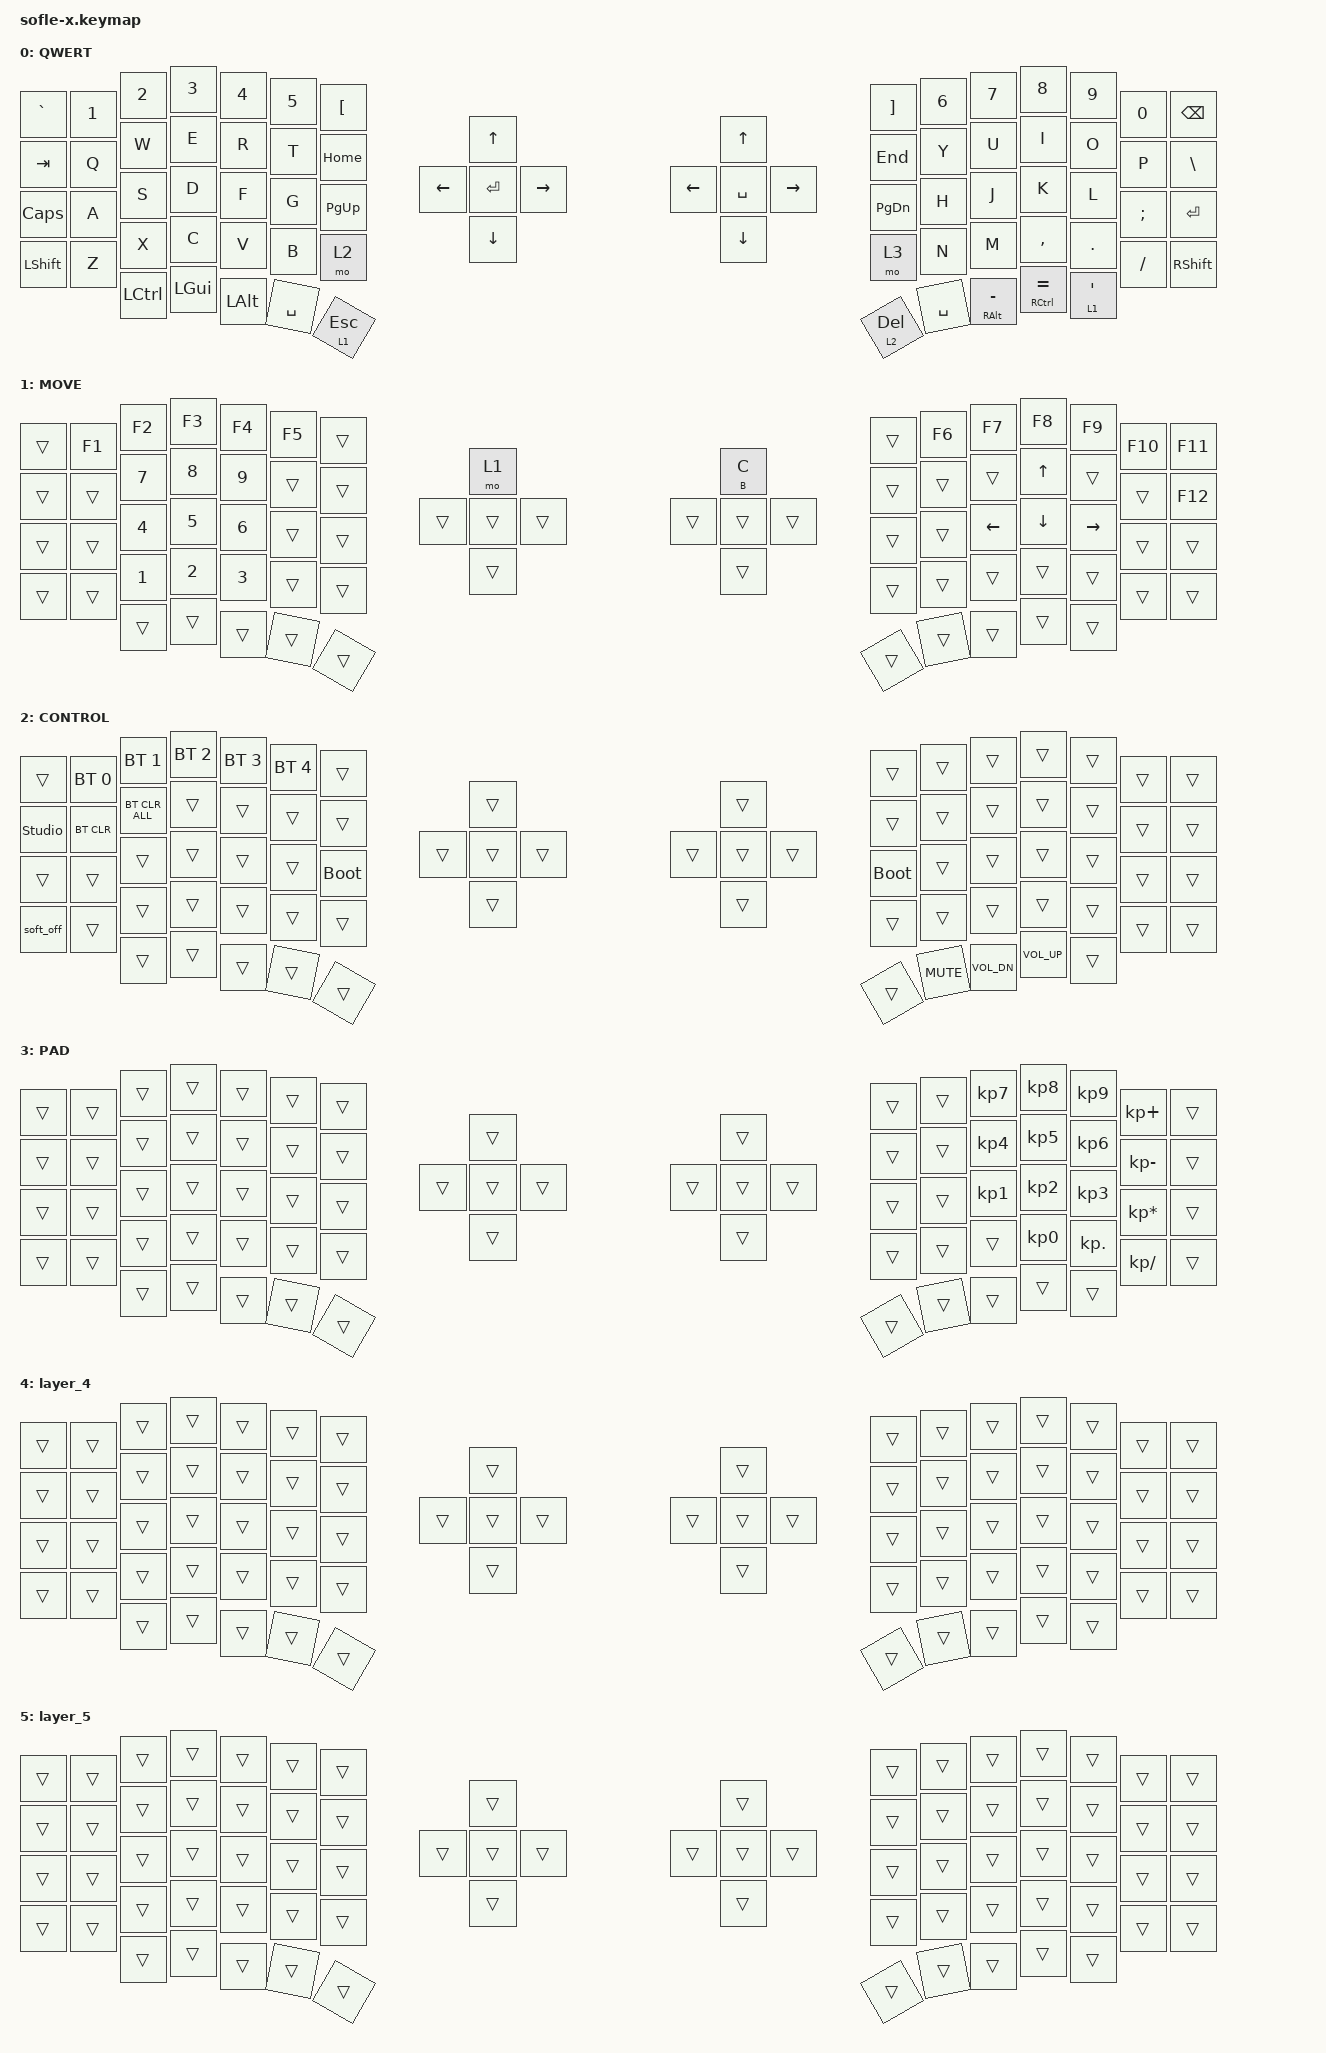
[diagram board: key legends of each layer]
/*
 * Copyright (c) 2020 The ZMK Contributors
 *
 * SPDX-License-Identifier: MIT
 */

#include <behaviors.dtsi>
#include <dt-bindings/zmk/bt.h>
#include <dt-bindings/zmk/keys.h>

#define BASE 0
#define LOWER 1
#define RAISE 2
#define ADJUST 3

/ {
    // Activate ADJUST layer by pressing raise and lower

    conditional_layers {
        compatible = "zmk,conditional-layers";

        adjust_layer {
            if-layers = <1 2>;
            then-layer = <3>;
        };
    };

    macros {
        say_hi: say_hi {
            compatible = "zmk,behavior-macro";
            #binding-cells = <0>;
            bindings = <&kp H &kp I>;
            label = "SAY_HI";
        };
    };

    keymap {
        compatible = "zmk,keymap";

        layer_0 {
            display-name = "QWERT";
            bindings = <
&kp GRAVE  &kp N1  &kp N2        &kp N3    &kp N4    &kp N5     &kp LBKT       &kp RBKT   &kp N6     &kp N7          &kp N8           &kp N9        &kp N0    &kp BACKSPACE
&kp TAB    &kp Q   &kp W         &kp E     &kp R     &kp T      &kp HOME       &kp END    &kp Y      &kp U           &kp I            &kp O         &kp P     &kp BSLH
&kp CAPS   &kp A   &kp S         &kp D     &kp F     &kp G      &kp PG_UP      &kp PG_DN  &kp H      &kp J           &kp K            &kp L         &kp SEMI  &kp ENTER
&kp LSHFT  &kp Z   &kp X         &kp C     &kp V     &kp B      &mo 2          &mo 3      &kp N      &kp M           &kp COMMA        &kp DOT       &kp FSLH  &kp RSHFT
                   &kp LCTRL     &kp LGUI  &kp LALT  &kp SPACE  &lt 1 ESC      &lt 2 DEL  &kp SPACE  &mt RALT MINUS  &mt RCTRL EQUAL  &lt 1 SQT
                   &kp UP_ARROW  &kp LEFT  &kp DOWN  &kp RIGHT  &kp RET        &kp SPACE  &kp RIGHT  &kp DOWN        &kp LEFT         &kp UP_ARROW
            >;
        };

        layer_1 {
            bindings = <
&trans  &kp F1  &kp F2  &kp F3  &kp F4  &kp F5  &trans      &trans  &kp F6  &kp F7    &kp F8    &kp F9     &kp F10  &kp F11
&trans  &trans  &kp N7  &kp N8  &kp N9  &trans  &trans      &trans  &trans  &trans    &kp UP    &trans     &trans   &kp F12
&trans  &trans  &kp N4  &kp N5  &kp N6  &trans  &trans      &trans  &trans  &kp LEFT  &kp DOWN  &kp RIGHT  &trans   &trans
&trans  &trans  &kp N1  &kp N2  &kp N3  &trans  &trans      &trans  &trans  &trans    &trans    &trans     &trans   &trans
                &trans  &trans  &trans  &trans  &trans      &trans  &trans  &trans    &trans    &trans
                &mo 1   &trans  &trans  &trans  &trans      &trans  &trans  &trans    &trans    &mt B C
            >;

            label = "MOVE";
        };

        layer_2 {
            bindings = <
&trans          &bt BT_SEL 0  &bt BT_SEL 1    &bt BT_SEL 2  &bt BT_SEL 3  &bt BT_SEL 4  &trans           &trans       &trans      &trans        &trans        &trans  &trans  &trans
&studio_unlock  &bt BT_CLR    &bt BT_CLR_ALL  &trans        &trans        &trans        &trans           &trans       &trans      &trans        &trans        &trans  &trans  &trans
&trans          &trans        &trans          &trans        &trans        &trans        &bootloader      &bootloader  &trans      &trans        &trans        &trans  &trans  &trans
&soft_off       &trans        &trans          &trans        &trans        &trans        &trans           &trans       &trans      &trans        &trans        &trans  &trans  &trans
                              &trans          &trans        &trans        &trans        &trans           &trans       &kp C_MUTE  &kp C_VOL_DN  &kp C_VOL_UP  &trans
                              &trans          &trans        &trans        &trans        &trans           &trans       &trans      &trans        &trans        &trans
            >;

            label = "CONTROL";
        };

        layer_3 {
            bindings = <
&trans  &trans  &trans  &trans  &trans  &trans  &trans      &trans  &trans  &kp KP_N7  &kp KP_N8  &kp KP_N9   &kp KP_PLUS      &trans
&trans  &trans  &trans  &trans  &trans  &trans  &trans      &trans  &trans  &kp KP_N4  &kp KP_N5  &kp KP_N6   &kp KP_MINUS     &trans
&trans  &trans  &trans  &trans  &trans  &trans  &trans      &trans  &trans  &kp KP_N1  &kp KP_N2  &kp KP_N3   &kp KP_MULTIPLY  &trans
&trans  &trans  &trans  &trans  &trans  &trans  &trans      &trans  &trans  &trans     &kp KP_N0  &kp KP_DOT  &kp KP_DIVIDE    &trans
                &trans  &trans  &trans  &trans  &trans      &trans  &trans  &trans     &trans     &trans
                &trans  &trans  &trans  &trans  &trans      &trans  &trans  &trans     &trans     &trans
            >;

            label = "PAD";
        };

        layer_4 {
            bindings = <
&trans  &trans  &trans  &trans  &trans  &trans  &trans      &trans  &trans  &trans  &trans  &trans  &trans  &trans
&trans  &trans  &trans  &trans  &trans  &trans  &trans      &trans  &trans  &trans  &trans  &trans  &trans  &trans
&trans  &trans  &trans  &trans  &trans  &trans  &trans      &trans  &trans  &trans  &trans  &trans  &trans  &trans
&trans  &trans  &trans  &trans  &trans  &trans  &trans      &trans  &trans  &trans  &trans  &trans  &trans  &trans
                &trans  &trans  &trans  &trans  &trans      &trans  &trans  &trans  &trans  &trans
                &trans  &trans  &trans  &trans  &trans      &trans  &trans  &trans  &trans  &trans
            >;
        };

        layer_5 {
            bindings = <
&trans  &trans  &trans  &trans  &trans  &trans  &trans      &trans  &trans  &trans  &trans  &trans  &trans  &trans
&trans  &trans  &trans  &trans  &trans  &trans  &trans      &trans  &trans  &trans  &trans  &trans  &trans  &trans
&trans  &trans  &trans  &trans  &trans  &trans  &trans      &trans  &trans  &trans  &trans  &trans  &trans  &trans
&trans  &trans  &trans  &trans  &trans  &trans  &trans      &trans  &trans  &trans  &trans  &trans  &trans  &trans
                &trans  &trans  &trans  &trans  &trans      &trans  &trans  &trans  &trans  &trans
                &trans  &trans  &trans  &trans  &trans      &trans  &trans  &trans  &trans  &trans
            >;
        };
    };
};
